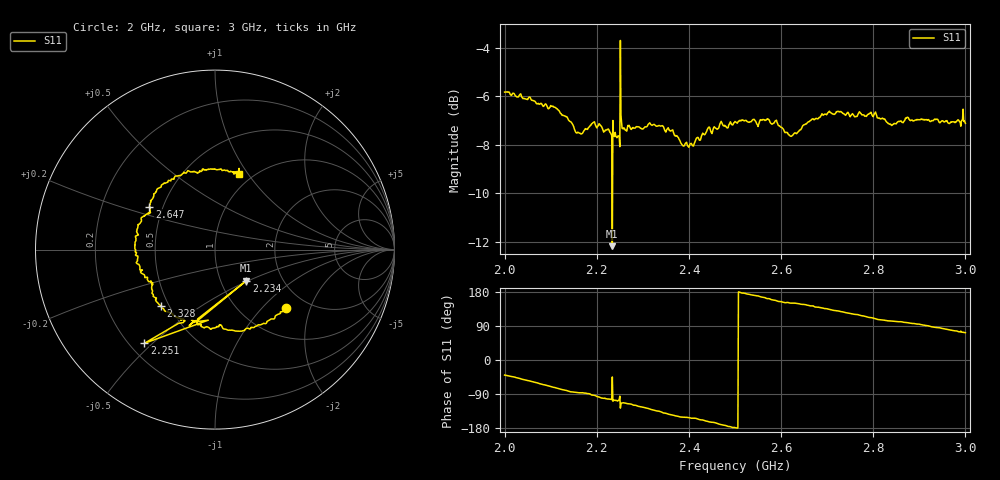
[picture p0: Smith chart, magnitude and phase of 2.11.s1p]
!Agilent Technologies,E8364A,US41440144,A.06.04.32
!Agilent E8364A: A.06.04.32
!Date: Friday, February 02, 2018 10:54:38
!Correction: S22(Full 2 Port(1,2))
!S1P File: Measurement: S22:
# Hz S  dB  R 50
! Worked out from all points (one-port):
!   801 points, 2 GHz to 3 GHz, reference 50 ohm
!   lowest |S11| = -12.2 dB at 2.234 GHz (marker M1), VSWR 1.65, Z = 66.1 - j24.4 ohm
!   |S11| at or under -10 dB: 2.233154 GHz to 2.234276 GHz (1.122 MHz wide, 0.0502 % of centre)
!   S11 on the Smith chart (normalised r, x): 2 GHz: 1.55, -1.38; 2.234 GHz: 1.32, -0.49; 2.251 GHz: 0.26, -0.47; 2.328 GHz: 0.45, -0.35; 2.647 GHz: 0.42, +0.25; 3 GHz: 0.87, +0.91
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2e9  -5.82 -39.8
2.0575e9  -6.13 -56.3
2.125e9  -6.78 -78.2
2.16e9  -7.49 -86.4
2.19375e9  -7.06 -92.9
2.22375e9  -7.37 -103.1
2.22875e9  -7.49 -103.3
2.23375e9  -12.18 -44.8
2.23875e9  -7.66 -106.2
2.24e9  -7.49 -106.8
2.245e9  -7.64 -108.4
2.25e9  -8.07 -95.4
2.25125e9  -3.69 -127.0
2.25625e9  -7.33 -113.3
2.26125e9  -7.38 -113.6
2.3275e9  -7.21 -133.6
2.375e9  -7.65 -148.3
2.40375e9  -7.95 -153.0
2.4325e9  -7.56 -159.3
2.5e9  -7.03 -178.5
2.59125e9  -7.08 155.8
2.625e9  -7.61 150.0
2.6475e9  -7.20 146.8
2.7e9  -6.73 135.1
2.75e9  -6.84 122.7
2.81375e9  -6.90 106.4
2.875e9  -6.86 98.3
3e9  -7.11 72.1
